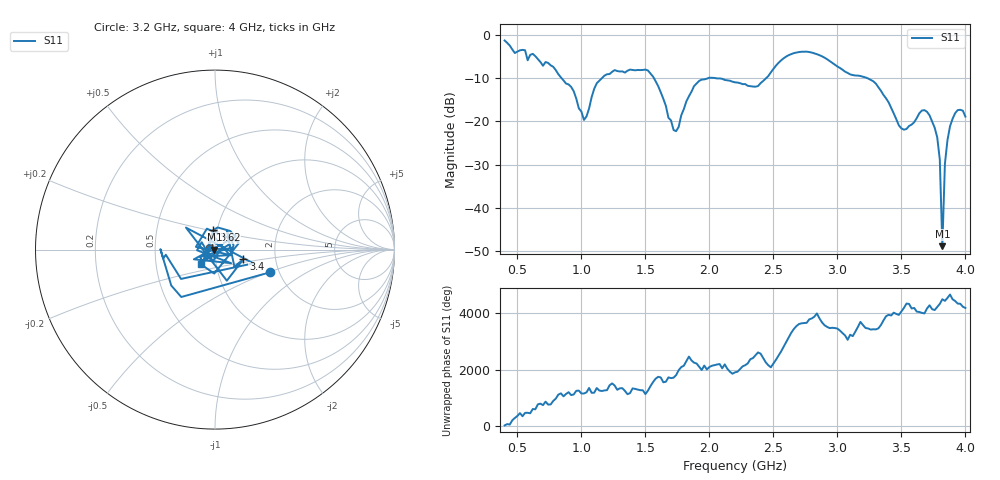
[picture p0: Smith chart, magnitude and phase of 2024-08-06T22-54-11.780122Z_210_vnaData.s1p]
!Created with skrf (http://scikit-rf.org).
# Hz S RI R 50.0
!freq ReS11 ImS11
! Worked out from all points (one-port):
!   181 points, 400 MHz to 4 GHz, reference 50 ohm
!   lowest |S11| = -48.9 dB at 3.82 GHz (marker M1), VSWR 1.01, Z = 49.6 + j0.0397 ohm
!   |S11| at or under -10 dB: 1.567 GHz to 1.986 GHz (418.7 MHz wide, 23.6 % of centre); 2.058 GHz to 2.441 GHz (383.7 MHz wide, 17.1 % of centre); 3.238 GHz to end of sweep (the widest 3 of 4)
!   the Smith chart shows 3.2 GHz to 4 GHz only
!   S11 on the Smith chart (normalised r, x): 3.2 GHz: 1.79, -0.51; 3.4 GHz: 1.36, -0.15; 3.62 GHz: 0.96, +0.21; 4 GHz: 0.84, -0.14
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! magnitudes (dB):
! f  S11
! 400 MHz  -1.2
! 860 MHz  -10.5
! 940 MHz  -13.0
! 1.02 GHz  -19.6
! 1.12 GHz  -11.1
! 1.3 GHz  -8.4
! 1.52 GHz  -8.2
! 1.72 GHz  -22.0
! 1.76 GHz  -21.3
! 1.82 GHz  -15.3
! 1.92 GHz  -10.6
! 2.2 GHz  -10.9
! 2.38 GHz  -11.8
! 2.66 GHz  -4.1
! 3.1 GHz  -9.1
! 3.2 GHz  -9.6
! 3.4 GHz  -15.6
! 3.5 GHz  -21.6
! 3.56 GHz  -21.0
! 3.62 GHz  -19.2
! 3.7 GHz  -17.8
! 3.78 GHz  -23.7
! 3.8 GHz  -28.8
! 3.82 GHz  -48.9
! 3.84 GHz  -29.8
! 3.86 GHz  -24.3
! 3.92 GHz  -18.1
! 4 GHz  -18.9
